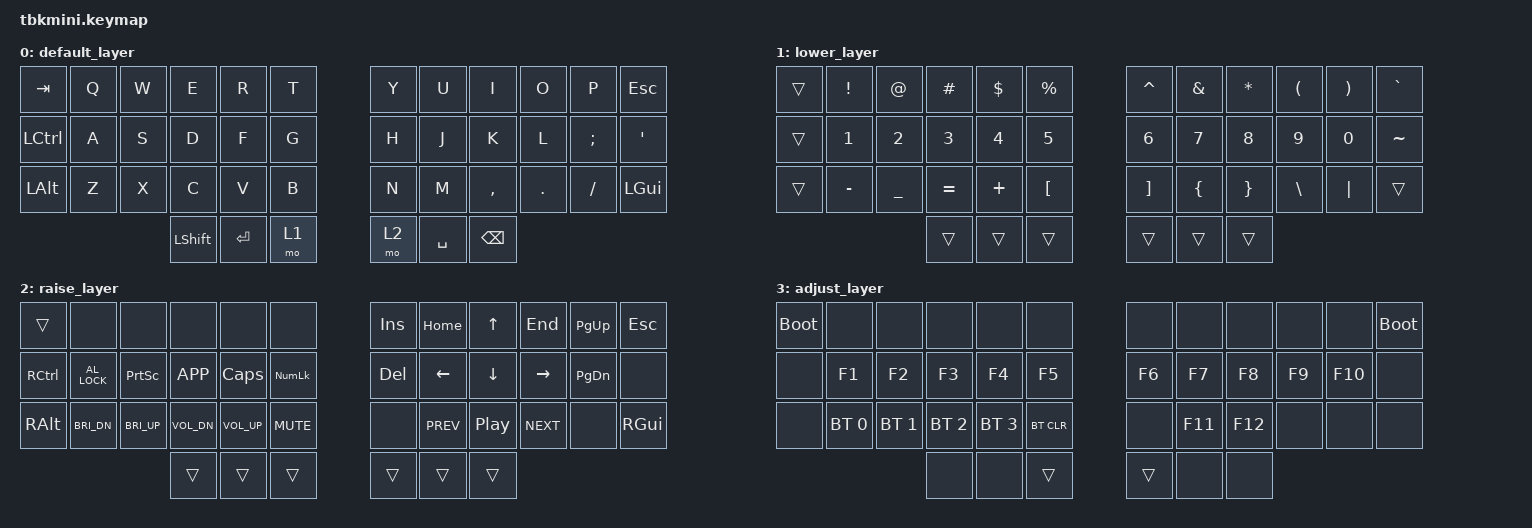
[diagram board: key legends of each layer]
/*
 * Copyright (c) 2020 The ZMK Contributors
 *
 * SPDX-License-Identifier: MIT
 */

#include <behaviors.dtsi>
#include <dt-bindings/zmk/keys.h>
#include <dt-bindings/zmk/bt.h>

/ {

        conditional_layers {
            compatible = "zmk,conditional-layers";

            adjust {
                if-layers = <1 2>;
                then-layer = <3>;
            };
        };

        keymap {
                compatible = "zmk,keymap";

                default_layer {
// -----------------------------------------------------------------------------------------
// |  TAB |  Q  |  W  |  E   |  R  |  T  |   |  Y  |  U  |  I   |  O  |  P  | ESC  |
// |  CTL |  A  |  S  |  D   |  F  |  G  |   |  H  |  J  |  K   |  L  |  ;  |  '   |
// |  ALT |  Z  |  X  |  C   |  V  |  B  |   |  N  |  M  |  ,   |  .  |  /  | GUI  |
//                    | SHFT | ENT | LWR |   | RSE | SPC | BKSP |
                        bindings = <
    &kp TAB     &kp Q       &kp W      &kp E      &kp R    &kp T       &kp Y       &kp U       &kp I       &kp O       &kp P       &kp ESC
    &kp LCTRL   &kp A       &kp S      &kp D      &kp F    &kp G       &kp H       &kp J       &kp K       &kp L       &kp SEMI    &kp SQT
    &kp LALT    &kp Z       &kp X      &kp C      &kp V    &kp B       &kp N       &kp M       &kp COMMA   &kp DOT     &kp FSLH    &kp LGUI
                                       &kp LSHFT  &kp RET  &mo 1       &mo 2       &kp SPACE   &kp BSPC
                                        >;
                };

                lower_layer {
// -----------------------------------------------------------------------------------------
// | TAB |  !  |  @  |  #   |  $  |  %  |   |  ^  |  &  |  *   |  (  |  )  |  `  |
// | CTL |  1  |  2  |  3   |  4  |  5  |   |  6  |  7  |  8   |  9  |  0  |  ~  |
// | ALT |  -  |  _  |  =   |  +  |  [  |   |  ]  |  {  |  }   |  \  | "|" | GUI |
//                   | SHFT | ENT |     |   |     | SPC | BKSP |
                        bindings = <
    &trans      &kp EXCL    &kp AT     &kp HASH  &kp DLLR  &kp PRCNT   &kp CARET   &kp AMPS    &kp STAR    &kp LPAR    &kp RPAR    &kp GRAVE
    &trans      &kp N1      &kp N2     &kp N3    &kp N4    &kp N5      &kp N6      &kp N7      &kp N8      &kp N9      &kp N0      &kp TILDE
    &trans      &kp MINUS   &kp UNDER  &kp EQUAL &kp PLUS  &kp LBKT    &kp RBKT    &kp LBRC    &kp RBRC    &kp BSLH    &kp PIPE    &trans
                                       &trans    &trans    &trans      &trans      &trans      &trans
                        >;
                };

                raise_layer {
// -----------------------------------------------------------------------------------------
// | TAB  |      |      |      |      |      |   | INS | HOME |  UP  | END | PGUP | ESC  |
// | RCTL | LOCK | SCSH | APP  | CAPS | NMLK |   | DEL | LEFT |  DN  | RGT | PGDN |      | 
// | RALT | BR-  | BR+  | VOL- | VOL+ | VOLx |   |     | PRV  | P/P  | NXT |      | RGUI |
//                      | SHFT | ENT  |      |   |     | SPC  | BKSP |
                        bindings = <
    &trans      &none         &none         &none         &none         &none          &kp INS   &kp HOME    &kp UP     &kp END     &kp PG_UP  &kp ESC
    &kp RCTRL   &kp C_AL_LOCK &kp PSCRN     &kp K_APP     &kp CAPS      &kp KP_NUM     &kp DEL   &kp LEFT    &kp DOWN   &kp RIGHT   &kp PG_DN  &none
    &kp RALT    &kp C_BRI_DN  &kp C_BRI_UP  &kp C_VOL_DN  &kp C_VOL_UP  &kp C_MUTE     &none     &kp C_PREV  &kp C_PP   &kp C_NEXT  &none      &kp RGUI
                                            &trans        &trans        &trans         &trans    &trans      &trans
                                                 >;
                };

                adjust_layer {
// -----------------------------------------------------------------------------------------
// | BOOT |     |     |     |     |       |   |     |     |     |     |     | BOOT |
// |      | F1  | F2  | F3  | F4  | F5    |   | F6  | F7  | F8  | F9  | F10 |      |
// |      | BT1 | BT2 | BT3 | BT4 | BTCLR |   |     | F11 | F12 |     |     |      |
//                    |     |     |       |   |     |     |     |
                        bindings = <
   &bootloader  &none        &none        &none        &none        &none         &none    &none    &none    &none    &none    &bootloader
   &none        &kp F1       &kp F2       &kp F3       &kp F4       &kp F5        &kp F6   &kp F7   &kp F8   &kp F9   &kp F10  &none
   &none        &bt BT_SEL 0 &bt BT_SEL 1 &bt BT_SEL 2 &bt BT_SEL 3 &bt BT_CLR    &none    &kp F11  &kp F12  &none    &none    &none
                                          &none        &none        &trans        &trans   &none    &none
                        >;
                };
        };
};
